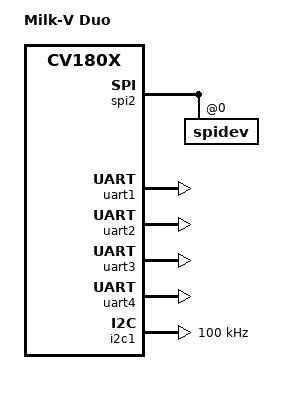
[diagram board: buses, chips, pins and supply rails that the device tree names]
/dts-v1/;
#include "cv180x_base_riscv.dtsi"
#include "cv180x_asic_qfn.dtsi"
#include "cv180x_asic_sd.dtsi"
#include "cv180x_default_memmap.dtsi"

/ {
	model = "Milk-V Duo";
};

&mipi_rx{
	snsr-reset = <&portc 8 GPIO_ACTIVE_LOW>, <&portc 8 GPIO_ACTIVE_LOW>, <&portc 8 GPIO_ACTIVE_LOW>;
};

&spi2 {
	status = "okay";

	spidev@0 {
		status = "okay";
	};
};

&uart1 {
	status = "okay";
};

&uart2 {
	status = "okay";
};

&uart3 {
	status = "okay";
};

&uart4 {
	status = "okay";
};

&i2c1 {
       status = "okay";
       clock-frequency = <100000>;
};

&porta {
    pps_gpio: pps-gpio {
        compatible = "pps-gpio";
        gpios = <&porta 15 GPIO_ACTIVE_HIGH>;  // XGPIOA[15]
        assert-rising-edge;                    // 大多数 GPS 模块 PPS 上升沿有效
        status = "okay";
    };
};
